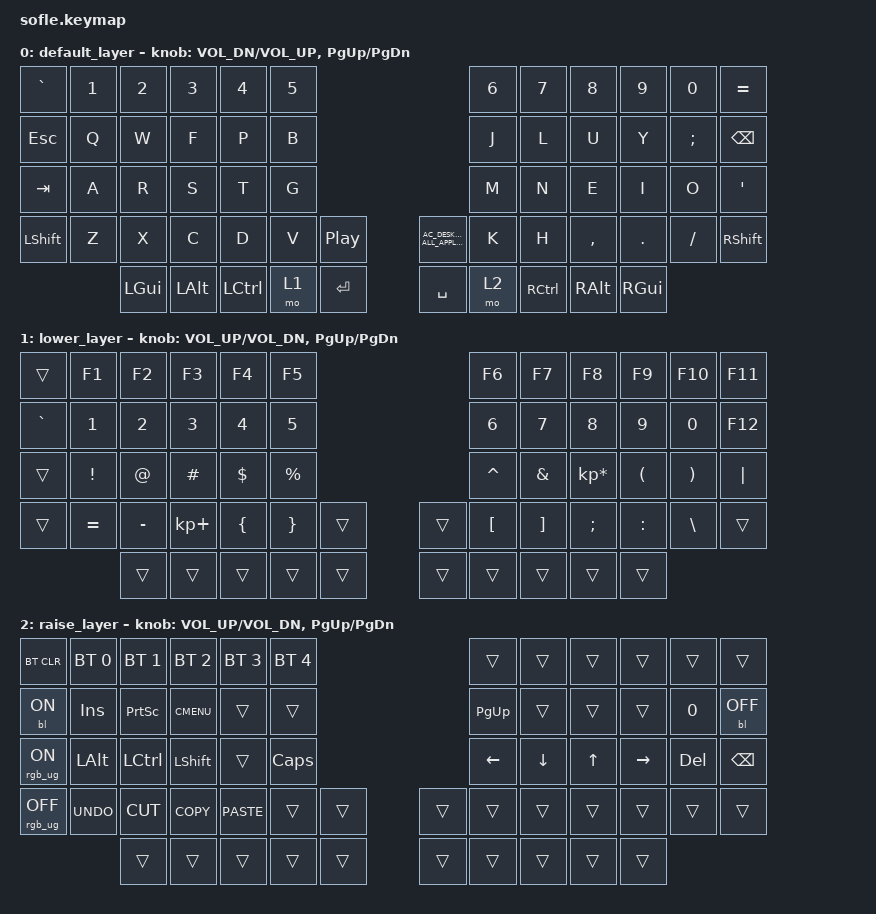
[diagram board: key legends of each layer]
/*
 * Copyright (c) 2020 The ZMK Contributors
 *
 * SPDX-License-Identifier: MIT
 */

#include <behaviors.dtsi>
#include <dt-bindings/zmk/backlight.h>
#include <dt-bindings/zmk/bt.h>
#include <dt-bindings/zmk/keys.h>
#include <dt-bindings/zmk/rgb.h>

/ {
    keymap {
        compatible = "zmk,keymap";

        default_layer {
            // ------------------------------------------------------------------------------------------------------------
            // |  `    |  1  |  2  |  3   |  4   |  5   |                   |  6   |  7    |  8    |  9   |   0   |       |
            // |  ESC  |  Q  |  W  |  E   |  R   |  T   |                   |  Y   |  U    |  I    |  O   |   P   | BKSPC |
            // |  TAB  |  A  |  S  |  D   |  F   |  G   |                   |  H   |  J    |  K    |  L   |   ;   |   '   |
            // | SHIFT |  Z  |  X  |  C   |  V   |  B   |  MUTE  |  |       |  N   |  M    |  ,    |  .   |   /   | SHIFT |
            //               | GUI | ALT  | CTRL | LOWER|  ENTER |  | SPACE | RAISE| CTRL  | ALT   | GUI  |

            bindings = <
&kp GRAVE  &kp N1  &kp N2    &kp N3    &kp N4     &kp N5                                                              &kp N6  &kp N7     &kp N8     &kp N9    &kp N0    &kp EQUAL
&kp ESC    &kp Q   &kp W     &kp F     &kp P      &kp B                                                               &kp J   &kp L      &kp U      &kp Y     &kp SEMI  &kp BACKSPACE
&kp TAB    &kp A   &kp R     &kp S     &kp T      &kp G                                                               &kp M   &kp N      &kp E      &kp I     &kp O     &kp SQT
&kp LSHFT  &kp Z   &kp X     &kp C     &kp D      &kp V   &kp C_PLAY_PAUSE    &kp C_AC_DESKTOP_SHOW_ALL_APPLICATIONS  &kp K   &kp H      &kp COMMA  &kp DOT   &kp FSLH  &kp RSHFT
                   &kp LGUI  &kp LALT  &kp LCTRL  &mo 1   &kp RET             &kp SPACE                               &mo 2   &kp RCTRL  &kp RALT   &kp RGUI
            >;

            sensor-bindings =
                <&inc_dec_kp C_VOL_DN C_VOL_UP>,
                <&inc_dec_kp PG_UP PG_DN>;
        };

        lower_layer {
            // TODO: Some binds are waiting for shifted keycode support.
            // ------------------------------------------------------------------------------------------------------------
            // |       |  F1 |  F2 |  F3  |  F4  |  F5  |                   |  F6  |  F7   |  F8   |  F9  |  F10  |  F11  |
            // | `     |   1 |   2 |   3  |   4  |   5  |                   |   6  |   7   |   8   |   9  |    0  |  F12  |
            // |       |  !  |  @  |  #   |  $   |  %   |                   |  ^   |  &    |  *    |  (   |   )   |   |   |
            // |       |  =  |  -  |  +   |  {   |  }   |        |  |       |  [   |  ]    |  ;    |  :   |   \   |       |
            //               |     |      |      |      |        |  |       |      |       |       |      |

            bindings = <
&trans     &kp F1     &kp F2     &kp F3       &kp F4    &kp F5                       &kp F6     &kp F7    &kp F8           &kp F9     &kp F10   &kp F11
&kp GRAVE  &kp N1     &kp N2     &kp N3       &kp N4    &kp N5                       &kp N6     &kp N7    &kp N8           &kp N9     &kp N0    &kp F12
&trans     &kp EXCL   &kp AT     &kp HASH     &kp DLLR  &kp PRCNT                    &kp CARET  &kp AMPS  &kp KP_MULTIPLY  &kp LPAR   &kp RPAR  &kp PIPE
&trans     &kp EQUAL  &kp MINUS  &kp KP_PLUS  &kp LBRC  &kp RBRC   &trans    &trans  &kp LBKT   &kp RBKT  &kp SEMI         &kp COLON  &kp BSLH  &trans
                      &trans     &trans       &trans    &trans     &trans    &trans  &trans     &trans    &trans           &trans
            >;

            sensor-bindings = <&inc_dec_kp C_VOL_UP C_VOL_DN &inc_dec_kp PG_UP PG_DN>;
        };

        raise_layer {
            // ------------------------------------------------------------------------------------------------------------
            // |BTCLR| BT1  | BT2  |  BT3  |  BT4  |  BT5 |                |      |      |       |      |       |       |
            // |     | INS  | PSCR | GUI   |       |      |                | PGUP |      |       |      |       |       |
            // |     | ALT  | CTRL | SHIFT |       | CAPS |                |  <-  |   v  |   ^   |  ->  |  DEL  | BKSPC |
            // |     | UNDO | CUT  | COPY  | PASTE |      |      |  |      |      |      |       |      |       |       |
            //              |      |       |       |      |      |  |      |      |      |       |      |

            bindings = <
&bt BT_CLR       &bt BT_SEL 0  &bt BT_SEL 1  &bt BT_SEL 2  &bt BT_SEL 3  &bt BT_SEL 4                    &trans     &trans    &trans  &trans     &trans   &trans
&bl BL_ON        &kp INS       &kp PSCRN     &kp K_CMENU   &trans        &trans                          &kp PG_UP  &trans    &trans  &trans     &kp N0   &bl BL_OFF
&rgb_ug RGB_ON   &kp LALT      &kp LCTRL     &kp LSHFT     &trans        &kp CLCK                        &kp LEFT   &kp DOWN  &kp UP  &kp RIGHT  &kp DEL  &kp BSPC
&rgb_ug RGB_OFF  &kp K_UNDO    &kp K_CUT     &kp K_COPY    &kp K_PASTE   &trans        &trans    &trans  &trans     &trans    &trans  &trans     &trans   &trans
                               &trans        &trans        &trans        &trans        &trans    &trans  &trans     &trans    &trans  &trans
            >;

            sensor-bindings = <&inc_dec_kp C_VOL_UP C_VOL_DN &inc_dec_kp PG_UP PG_DN>;
        };
    };
};
